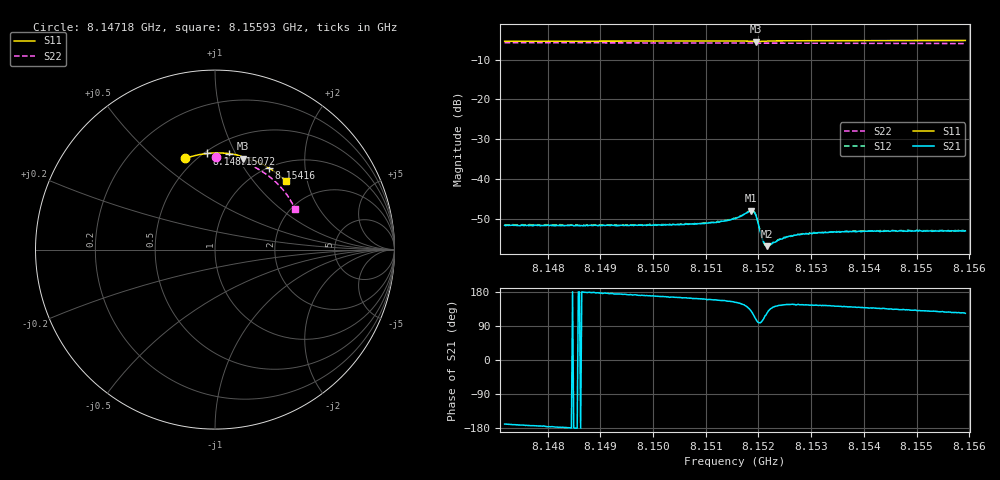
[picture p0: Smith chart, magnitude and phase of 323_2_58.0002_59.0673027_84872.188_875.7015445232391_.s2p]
#  HZ  S  RI  R  50.00
! Rohde & Schwarz Vector Network Analyzer
! Rohde-Schwarz,ZNB20-2Port,1311601062101988,3.16
! Created: UTC 3/21/2024, 1:04:47 AM
! freq[Hz]  re:S11  im:S11  re:S21  im:S21  re:S12  im:S12  re:S22  im:S22
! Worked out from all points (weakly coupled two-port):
!   401 points, 8.14718 GHz to 8.15593 GHz, reference 50 ohm
!   highest |S21| = -47.85 dB at 8.15186 GHz (marker M1); lowest = -56.8 dB at 8.15217 GHz (marker M2)
!   lowest |S11| = -5.5 dB at 8.15195 GHz (marker M3), VSWR 3.26, Z = 37.2 + j52.4 ohm
!   |S11| at or under -10 dB: nowhere
!   |S22| runs from -6.0 to -5.8 dB; largest |S21 - S12| = 0.00013
!   S11 on the Smith chart (normalised r, x): 8.14718 GHz: 0.44, +0.63; 8.14895 GHz: 0.52, +0.78; 8.15072 GHz: 0.62, +0.94; 8.15416 GHz: 1.00, +1.30; 8.15593 GHz: 1.36, +1.49
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8.147183e9  -0.1647 0.5082  -0.0026 -0.000504  -0.00263 -0.000404  0.00394 0.5137
8.148647e9  -0.0656 0.5328  -0.00263 1.74e-05  -0.00268 5.2e-05  0.0991 0.5025
8.148953e9  -0.0445 0.5357  -0.0026 0.000115  -0.00264 0.000166  0.1184 0.4979
8.150112e9  0.0362 0.5382  -0.00262 0.000569  -0.00264 0.000593  0.1894 0.4739
8.150724e9  0.0788 0.5346  -0.00263 0.000789  -0.0026 0.000887  0.225 0.457
8.151205e9  0.1124 0.5291  -0.00267 0.00107  -0.00271 0.00111  0.2521 0.4419
8.151554e9  0.1375 0.523  -0.00283 0.0015  -0.00287 0.00154  0.2709 0.43
8.15186e9  0.1582 0.5103  -0.00256 0.00314  -0.0025 0.00321  0.287 0.4186
8.151904e9  0.1586 0.5074  -0.00194 0.00345  -0.0019 0.00353  0.2889 0.4169
8.151948e9  0.1575 0.5061  -0.0011 0.00339  -0.00107 0.00346  0.2911 0.4154
8.151991e9  0.157 0.5074  -0.000472 0.00281  -0.000457 0.00287  0.2934 0.4137
8.152079e9  0.1615 0.5112  -0.000439 0.00167  -0.000409 0.00168  0.2977 0.4108
8.152123e9  0.1651 0.512  -0.000668 0.00136  -0.000645 0.00135  0.3 0.4091
8.152166e9  0.1687 0.5121  -0.000825 0.00119  -0.000814 0.00122  0.3022 0.4075
8.15221e9  0.1723 0.5118  -0.001 0.00108  -0.000991 0.00112  0.3045 0.4057
8.152429e9  0.1887 0.5081  -0.00144 0.00104  -0.00143 0.00107  0.3153 0.3969
8.15256e9  0.1979 0.5053  -0.00159 0.00106  -0.00156 0.00108  0.3218 0.3915
8.152713e9  0.2083 0.5014  -0.00163 0.00114  -0.0017 0.00114  0.3291 0.3851
8.153019e9  0.2284 0.4935  -0.0017 0.00119  -0.00174 0.00125  0.3432 0.3718
8.154155e9  0.2982 0.4567  -0.00165 0.00155  -0.00162 0.00154  0.3911 0.3183
8.154483e9  0.3172 0.4443  -0.00156 0.00159  -0.00158 0.00163  0.4031 0.3017
8.155926e9  0.3935 0.381  -0.00123 0.00189  -0.00124 0.00187  0.4484 0.2239
